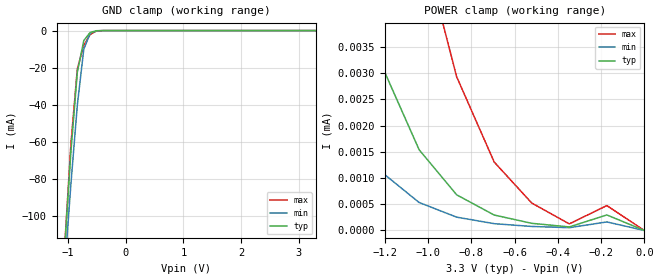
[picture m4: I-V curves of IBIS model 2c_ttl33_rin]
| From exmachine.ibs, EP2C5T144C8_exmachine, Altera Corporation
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[Model] 2c_ttl33_rin
Model_type Input
Vinl  = 0.8V
Vinh  = 1.7V
C_comp  3.3pF   NA   NA
[Temperature Range] 25   85   0
[Voltage Range]   3.3   3.135   3.465
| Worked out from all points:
|   GND clamp passes 1 mA (typ) near -0.62 V on its own axis
[GND Clamp]
| voltage   I (typ)   I (min)   I (max)
-3.3V     -1.379A    -1.218A    -1.475A
-1.063V   -119.5mA   -130.7mA   -118.6mA
-950.8mV  -65.61mA   -83.07mA   -61.36mA
-839mV    -22.42mA   -40.22mA   -20.68mA
-727.1mV  -5.406mA   -10.03mA   -7.969mA
-615.2mV  -953.2uA   -1.404mA   -2.067mA
-503.4mV  -74.89uA   -141.3uA   -180.2uA
-391.5mV  -3.887uA   -8.056uA   -7.422uA
3.3V      9.559nA    162.6nA    -15.85nA
[POWER Clamp]
| voltage   I (typ)   I (min)   I (max)
-3.3V     85.54uA    53.94uA    123.1uA
-1.563V   9.366uA    3.919uA    20.9uA
-1.389V   5.742uA    2.183uA    14.76uA
-1.216V   3.157uA    1.115uA    9.676uA
-1.042V   1.542uA    534.3nA    5.705uA
-868.4mV  680.6nA    254.2nA    2.935uA
-694.7mV  294.7nA    129.8nA    1.306uA
-521.1mV  136.7nA    76.74nA    523.8nA
-347.4mV  67.74nA    53.35nA    126nA
-173.7mV  296.5nA    162.9nA    474.8nA
0V        0A         0A         0A
